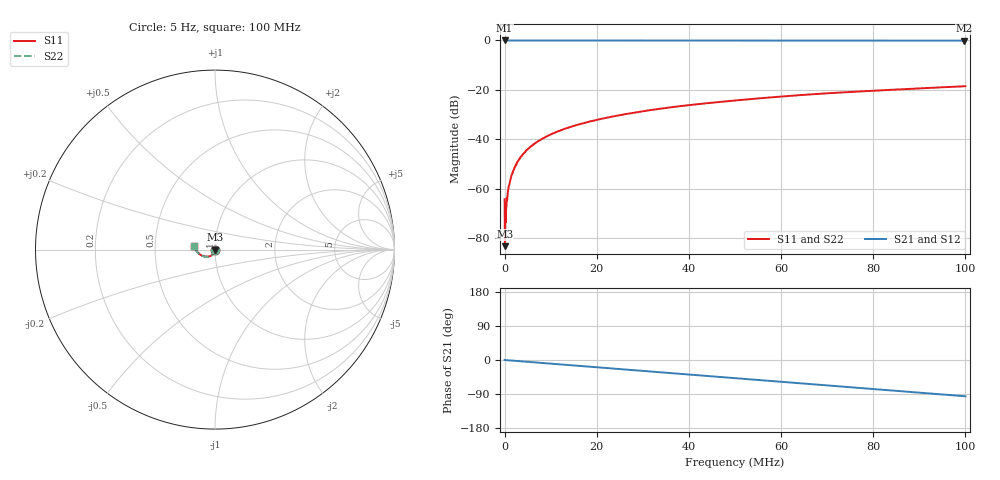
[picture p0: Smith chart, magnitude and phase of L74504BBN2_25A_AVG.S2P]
!Agilent Technologies,E5061B,MY49102235,A.02.00
!Date: Mon Jul 10 17:14:37 2023
!Data & Calibration Information:
!Freq	S11:SOLT2(ON)	S21:SOLT2(ON)	S12:SOLT2(ON)	S22:SOLT2(ON)
# Hz S RI R 50
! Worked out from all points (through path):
!   1600 points, 5 Hz to 100 MHz, reference 50 ohm
!   highest |S21| = 0.02 dB at 5 Hz (marker M1); lowest = -0.1 dB at 99.75 MHz (marker M2)
!   group delay of S21, straight-line fit = 2.66 ns
!   lowest |S11| = -83.3 dB at 62.54 kHz (marker M3), VSWR 1.00, Z = 50 - j0.00305 ohm
!   |S11| at or under -10 dB: start of sweep to end of sweep
!   |S22| runs from -78.2 to -18.5 dB; largest |S21 - S12| = 0.0026
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5  -0.000422 0.000442  1.002 0.0023  1.001 -6.04e-06  -0.00028 -5.48e-05
62544.08  -6.1e-05 -3.05e-05  1 -0.000852  1 -0.000636  7.84e-06 -0.000123
250161.3  5.57e-05 -0.000201  0.9997 -0.00444  0.9999 -0.00417  2.49e-05 -0.00024
562856.8  0.000136 -0.000577  0.9997 -0.00965  0.9996 -0.00907  8.04e-05 -0.000648
687934.9  -1.34e-05 -0.000849  1 -0.0114  1 -0.0115  -1.15e-05 -0.000768
938091.3  -0.000168 -0.00113  0.9996 -0.0157  0.9994 -0.0151  -0.000154 -0.00114
1188248  -8.05e-05 -0.00144  0.9995 -0.0197  0.9996 -0.0195  -3.69e-05 -0.00143
1438404  -7.46e-05 -0.00178  0.9996 -0.0245  0.9994 -0.0238  -7.19e-05 -0.00179
1938717  -9.75e-05 -0.00237  0.9992 -0.0329  0.9999 -0.0324  -6.01e-05 -0.00237
2626647  -0.00016 -0.00323  0.9986 -0.0441  0.9992 -0.0434  -0.000103 -0.00324
4002506  -0.000265 -0.00498  0.9977 -0.067  0.9976 -0.0667  -0.000311 -0.00496
6128835  -0.000721 -0.0076  0.9947 -0.1026  0.9947 -0.1024  -0.000747 -0.00758
8818016  -0.00153 -0.0109  0.989 -0.147  0.989 -0.1467  -0.00157 -0.0108
1.250782e7  -0.00314 -0.0152  0.9778 -0.2077  0.9779 -0.2076  -0.0031 -0.0152
1.669794e7  -0.00572 -0.0199  0.9609 -0.2755  0.9609 -0.2754  -0.00553 -0.0199
2.395247e7  -0.0118 -0.027  0.9201 -0.39  0.92 -0.3895  -0.0115 -0.0274
3.333334e7  -0.0224 -0.0343  0.8477 -0.5285  0.8478 -0.5283  -0.022 -0.035
5.003127e7  -0.0465 -0.0394  0.6686 -0.7408  0.6686 -0.7409  -0.0466 -0.0402
6.672921e7  -0.0746 -0.0326  0.4382 -0.8949  0.4381 -0.8946  -0.0746 -0.0332
8.33646e7  -0.0988 -0.0123  0.1751 -0.9789  0.175 -0.9787  -0.0991 -0.013
9.974984e7  -0.1166 0.0199  -0.0947 -0.9879  -0.095 -0.9876  -0.1171 0.0186
1e8  -0.1168 0.0205  -0.0988 -0.9876  -0.099 -0.9872  -0.1175 0.0192
